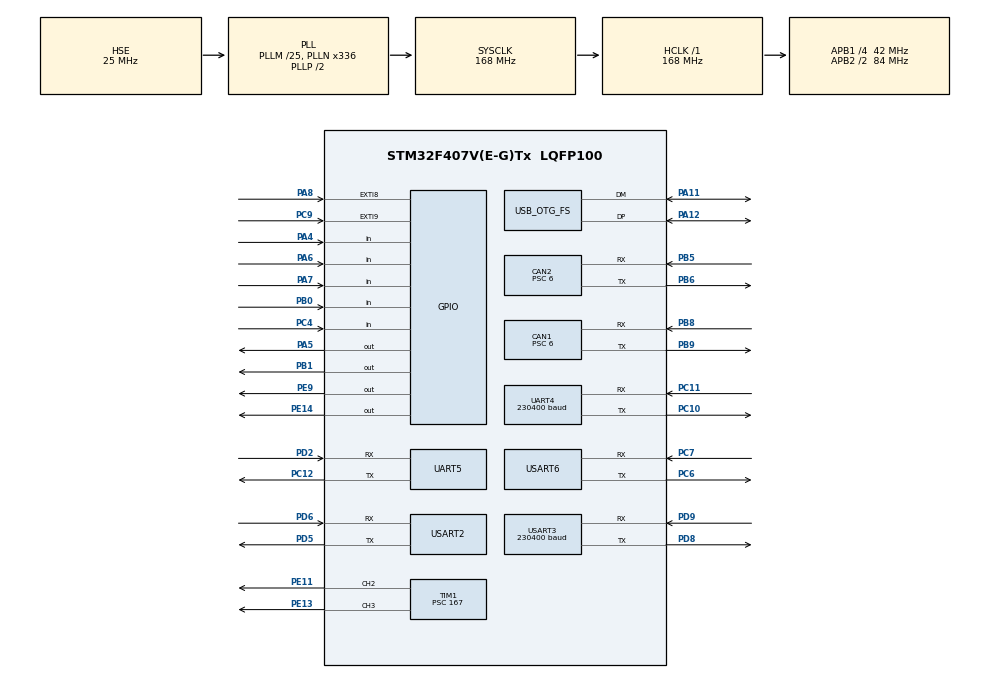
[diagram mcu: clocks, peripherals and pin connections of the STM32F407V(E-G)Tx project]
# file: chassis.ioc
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CAN1.BS1=CAN_BS1_3TQ
CAN1.BS2=CAN_BS2_3TQ
CAN1.CalculateBaudRate=1000000
CAN1.CalculateTimeBit=1000
CAN1.CalculateTimeQuantum=142.85714285714286
CAN1.Prescaler=6
CAN2.BS1=CAN_BS1_3TQ
CAN2.BS2=CAN_BS2_3TQ
CAN2.CalculateBaudRate=1000000
CAN2.CalculateTimeBit=1000
CAN2.CalculateTimeQuantum=142.85714285714286
CAN2.Mode=CAN_MODE_NORMAL
CAN2.Prescaler=6
Dma.Request0=UART4_RX
Dma.Request1=UART4_TX
Dma.Request2=UART5_RX
Dma.Request3=UART5_TX
Dma.Request4=USART3_RX
Dma.Request5=USART3_TX
Dma.Request6=USART2_TX
Dma.Request7=USART2_RX
Dma.Request8=USART6_RX
Dma.Request9=USART6_TX
Dma.UART4_RX.0.Direction=DMA_PERIPH_TO_MEMORY
Dma.UART4_RX.0.FIFOMode=DMA_FIFOMODE_DISABLE
Dma.UART4_RX.0.Instance=DMA1_Stream2
Dma.UART4_RX.0.MemDataAlignment=DMA_MDATAALIGN_BYTE
Dma.UART4_RX.0.MemInc=DMA_MINC_ENABLE
Dma.UART4_RX.0.Mode=DMA_NORMAL
Dma.UART4_RX.0.PeriphDataAlignment=DMA_PDATAALIGN_BYTE
Dma.UART4_RX.0.PeriphInc=DMA_PINC_DISABLE
Dma.UART4_RX.0.Priority=DMA_PRIORITY_LOW
Dma.UART4_TX.1.Direction=DMA_MEMORY_TO_PERIPH
Dma.UART4_TX.1.FIFOMode=DMA_FIFOMODE_DISABLE
Dma.UART4_TX.1.Instance=DMA1_Stream4
Dma.UART4_TX.1.MemDataAlignment=DMA_MDATAALIGN_BYTE
Dma.UART4_TX.1.MemInc=DMA_MINC_ENABLE
Dma.UART4_TX.1.Mode=DMA_NORMAL
Dma.UART4_TX.1.PeriphDataAlignment=DMA_PDATAALIGN_BYTE
Dma.UART4_TX.1.PeriphInc=DMA_PINC_DISABLE
Dma.UART4_TX.1.Priority=DMA_PRIORITY_LOW
Dma.UART5_RX.2.Direction=DMA_PERIPH_TO_MEMORY
Dma.UART5_RX.2.FIFOMode=DMA_FIFOMODE_DISABLE
Dma.UART5_RX.2.Instance=DMA1_Stream0
Dma.UART5_RX.2.MemDataAlignment=DMA_MDATAALIGN_BYTE
Dma.UART5_RX.2.MemInc=DMA_MINC_ENABLE
Dma.UART5_RX.2.Mode=DMA_NORMAL
Dma.UART5_RX.2.PeriphDataAlignment=DMA_PDATAALIGN_BYTE
Dma.UART5_RX.2.PeriphInc=DMA_PINC_DISABLE
Dma.UART5_RX.2.Priority=DMA_PRIORITY_LOW
Dma.UART5_TX.3.Direction=DMA_MEMORY_TO_PERIPH
Dma.UART5_TX.3.FIFOMode=DMA_FIFOMODE_DISABLE
Dma.UART5_TX.3.Instance=DMA1_Stream7
Dma.UART5_TX.3.MemDataAlignment=DMA_MDATAALIGN_BYTE
Dma.UART5_TX.3.MemInc=DMA_MINC_ENABLE
Dma.UART5_TX.3.Mode=DMA_NORMAL
Dma.UART5_TX.3.PeriphDataAlignment=DMA_PDATAALIGN_BYTE
Dma.UART5_TX.3.PeriphInc=DMA_PINC_DISABLE
Dma.UART5_TX.3.Priority=DMA_PRIORITY_LOW
Dma.USART2_RX.7.Direction=DMA_PERIPH_TO_MEMORY
Dma.USART2_RX.7.FIFOMode=DMA_FIFOMODE_DISABLE
Dma.USART2_RX.7.Instance=DMA1_Stream5
Dma.USART2_RX.7.MemDataAlignment=DMA_MDATAALIGN_BYTE
Dma.USART2_RX.7.MemInc=DMA_MINC_ENABLE
Dma.USART2_RX.7.Mode=DMA_NORMAL
Dma.USART2_RX.7.PeriphDataAlignment=DMA_PDATAALIGN_BYTE
Dma.USART2_RX.7.PeriphInc=DMA_PINC_DISABLE
Dma.USART2_RX.7.Priority=DMA_PRIORITY_LOW
Dma.USART2_TX.6.Direction=DMA_MEMORY_TO_PERIPH
Dma.USART2_TX.6.FIFOMode=DMA_FIFOMODE_DISABLE
Dma.USART2_TX.6.Instance=DMA1_Stream6
Dma.USART2_TX.6.MemDataAlignment=DMA_MDATAALIGN_BYTE
Dma.USART2_TX.6.MemInc=DMA_MINC_ENABLE
Dma.USART2_TX.6.Mode=DMA_NORMAL
Dma.USART2_TX.6.PeriphDataAlignment=DMA_PDATAALIGN_BYTE
Dma.USART2_TX.6.PeriphInc=DMA_PINC_DISABLE
Dma.USART2_TX.6.Priority=DMA_PRIORITY_LOW
Dma.USART3_RX.4.Direction=DMA_PERIPH_TO_MEMORY
Dma.USART3_RX.4.FIFOMode=DMA_FIFOMODE_DISABLE
Dma.USART3_RX.4.Instance=DMA1_Stream1
Dma.USART3_RX.4.MemDataAlignment=DMA_MDATAALIGN_BYTE
Dma.USART3_RX.4.MemInc=DMA_MINC_ENABLE
Dma.USART3_RX.4.Mode=DMA_NORMAL
Dma.USART3_RX.4.PeriphDataAlignment=DMA_PDATAALIGN_BYTE
Dma.USART3_RX.4.PeriphInc=DMA_PINC_DISABLE
Dma.USART3_RX.4.Priority=DMA_PRIORITY_LOW
Dma.USART3_TX.5.Direction=DMA_MEMORY_TO_PERIPH
Dma.USART3_TX.5.FIFOMode=DMA_FIFOMODE_DISABLE
Dma.USART3_TX.5.Instance=DMA1_Stream3
Dma.USART3_TX.5.MemDataAlignment=DMA_MDATAALIGN_BYTE
Dma.USART3_TX.5.MemInc=DMA_MINC_ENABLE
Dma.USART3_TX.5.Mode=DMA_NORMAL
Dma.USART3_TX.5.PeriphDataAlignment=DMA_PDATAALIGN_BYTE
Dma.USART3_TX.5.PeriphInc=DMA_PINC_DISABLE
Dma.USART3_TX.5.Priority=DMA_PRIORITY_LOW
Dma.USART6_RX.8.Direction=DMA_PERIPH_TO_MEMORY
Dma.USART6_RX.8.FIFOMode=DMA_FIFOMODE_DISABLE
Dma.USART6_RX.8.Instance=DMA2_Stream1
Dma.USART6_RX.8.MemDataAlignment=DMA_MDATAALIGN_BYTE
Dma.USART6_RX.8.MemInc=DMA_MINC_ENABLE
Dma.USART6_RX.8.Mode=DMA_NORMAL
Dma.USART6_RX.8.PeriphDataAlignment=DMA_PDATAALIGN_BYTE
Dma.USART6_RX.8.PeriphInc=DMA_PINC_DISABLE
Dma.USART6_RX.8.Priority=DMA_PRIORITY_LOW
Dma.USART6_TX.9.Direction=DMA_MEMORY_TO_PERIPH
Dma.USART6_TX.9.FIFOMode=DMA_FIFOMODE_DISABLE
Dma.USART6_TX.9.Instance=DMA2_Stream6
Dma.USART6_TX.9.MemDataAlignment=DMA_MDATAALIGN_BYTE
Dma.USART6_TX.9.MemInc=DMA_MINC_ENABLE
Dma.USART6_TX.9.Mode=DMA_NORMAL
Dma.USART6_TX.9.PeriphDataAlignment=DMA_PDATAALIGN_BYTE
Dma.USART6_TX.9.PeriphInc=DMA_PINC_DISABLE
Dma.USART6_TX.9.Priority=DMA_PRIORITY_LOW
FREERTOS.INCLUDE_uxTaskGetStackHighWaterMark=1
FREERTOS.INCLUDE_vTaskDelayUntil=1
FREERTOS.Tasks01=defaultTask,0,128,StartDefaultTask,Default,NULL,Dynamic,NULL,NULL
FREERTOS.configTOTAL_HEAP_SIZE=40960
FREERTOS.configUSE_TIMERS=1
Mcu.Family=STM32F4
Mcu.Name=STM32F407V(E-G)Tx
Mcu.Package=LQFP100
NVIC.CAN1_RX0_IRQn=true\:5\:0\:false\:false\:true\:true\:true\:true\:true
NVIC.CAN1_TX_IRQn=true\:5\:0\:false\:false\:true\:true\:true\:true\:true
NVIC.CAN2_RX1_IRQn=true\:5\:0\:false\:false\:true\:true\:true\:true\:true
NVIC.CAN2_TX_IRQn=true\:5\:0\:false\:false\:true\:true\:true\:true\:true
NVIC.DMA1_Stream0_IRQn=true\:5\:0\:false\:false\:true\:true\:false\:true\:true
NVIC.DMA1_Stream1_IRQn=true\:5\:0\:false\:false\:true\:true\:false\:true\:true
NVIC.DMA1_Stream2_IRQn=true\:5\:0\:false\:false\:true\:true\:false\:true\:true
NVIC.DMA1_Stream3_IRQn=true\:5\:0\:false\:false\:true\:true\:false\:true\:true
NVIC.DMA1_Stream4_IRQn=true\:5\:0\:false\:false\:true\:true\:false\:true\:true
NVIC.DMA1_Stream5_IRQn=true\:5\:0\:false\:false\:true\:true\:false\:true\:true
NVIC.DMA1_Stream6_IRQn=true\:5\:0\:false\:false\:true\:true\:false\:true\:true
NVIC.DMA1_Stream7_IRQn=true\:5\:0\:false\:false\:true\:true\:false\:true\:true
NVIC.DMA2_Stream1_IRQn=true\:5\:0\:false\:false\:true\:true\:false\:true\:true
NVIC.DMA2_Stream6_IRQn=true\:5\:0\:false\:false\:true\:true\:false\:true\:true
NVIC.EXTI9_5_IRQn=true\:5\:0\:false\:false\:true\:true\:true\:true\:true
NVIC.OTG_FS_IRQn=true\:5\:0\:false\:false\:true\:true\:false\:true\:true
NVIC.PriorityGroup=NVIC_PRIORITYGROUP_4
NVIC.TIM8_TRG_COM_TIM14_IRQn=true\:15\:0\:false\:false\:true\:false\:true\:true\:true
NVIC.TimeBase=TIM8_TRG_COM_TIM14_IRQn
NVIC.TimeBaseIP=TIM14
NVIC.UART4_IRQn=true\:5\:0\:false\:false\:true\:true\:true\:true\:true
NVIC.UART5_IRQn=true\:5\:0\:false\:false\:true\:true\:true\:true\:true
NVIC.USART2_IRQn=true\:5\:0\:false\:false\:true\:true\:true\:true\:true
NVIC.USART3_IRQn=true\:5\:0\:false\:false\:true\:true\:true\:true\:true
NVIC.USART6_IRQn=true\:5\:0\:false\:false\:true\:true\:true\:true\:true
PA11.Mode=Device_Only
PA11.Signal=USB_OTG_FS_DM
PA12.Mode=Device_Only
PA12.Signal=USB_OTG_FS_DP
PA13.Mode=Serial_Wire
PA13.Signal=SYS_JTMS-SWDIO
PA14.Mode=Serial_Wire
PA14.Signal=SYS_JTCK-SWCLK
PA4.GPIO_PuPd=GPIO_PULLDOWN
PA4.Signal=GPIO_Input
PA5.GPIO_PuPd=GPIO_PULLDOWN
PA5.Signal=GPIO_Output
PA6.GPIO_PuPd=GPIO_PULLDOWN
PA6.Signal=GPIO_Input
PA7.GPIO_PuPd=GPIO_PULLDOWN
PA7.Signal=GPIO_Input
PA8.GPIO_ModeDefaultEXTI=GPIO_MODE_IT_RISING_FALLING
PA8.GPIO_PuPd=GPIO_PULLDOWN
PA8.Signal=GPXTI8
PB0.GPIO_PuPd=GPIO_PULLDOWN
PB0.Signal=GPIO_Input
PB1.GPIO_PuPd=GPIO_PULLDOWN
PB1.Signal=GPIO_Output
PB5.Mode=CAN_Activate
PB5.Signal=CAN2_RX
PB6.Mode=CAN_Activate
PB6.Signal=CAN2_TX
PB8.Mode=CAN_Activate
PB8.Signal=CAN1_RX
PB9.Mode=CAN_Activate
PB9.Signal=CAN1_TX
PC10.Mode=Asynchronous
PC10.Signal=UART4_TX
PC11.Mode=Asynchronous
PC11.Signal=UART4_RX
PC12.Mode=Asynchronous
PC12.Signal=UART5_TX
PC4.GPIO_PuPd=GPIO_PULLDOWN
PC4.Signal=GPIO_Input
PC6.Mode=Asynchronous
PC6.Signal=USART6_TX
PC7.Mode=Asynchronous
PC7.Signal=USART6_RX
PC9.GPIO_ModeDefaultEXTI=GPIO_MODE_IT_RISING_FALLING
PC9.GPIO_PuPd=GPIO_PULLDOWN
PC9.Signal=GPXTI9
PD2.Mode=Asynchronous
PD2.Signal=UART5_RX
PD5.Mode=Asynchronous
PD5.Signal=USART2_TX
PD6.Mode=Asynchronous
PD6.Signal=USART2_RX
PD8.Mode=Asynchronous
PD8.Signal=USART3_TX
PD9.Mode=Asynchronous
PD9.Signal=USART3_RX
PE11.Signal=S_TIM1_CH2
PE13.Signal=S_TIM1_CH3
PE14.GPIO_PuPd=GPIO_PULLDOWN
PE14.Signal=GPIO_Output
PE9.GPIO_PuPd=GPIO_PULLDOWN
PE9.Signal=GPIO_Output
PH0-OSC_IN.Mode=HSE-External-Oscillator
PH0-OSC_IN.Signal=RCC_OSC_IN
PH1-OSC_OUT.Mode=HSE-External-Oscillator
PH1-OSC_OUT.Signal=RCC_OSC_OUT
ProjectManager.HeapSize=0x1000
ProjectManager.StackSize=0x400
ProjectManager.TargetToolchain=MDK-ARM V5
RCC.48MHZClocksFreq_Value=48000000
RCC.AHBFreq_Value=168000000
RCC.APB1CLKDivider=RCC_HCLK_DIV4
RCC.APB1Freq_Value=42000000
RCC.APB1TimFreq_Value=84000000
RCC.APB2CLKDivider=RCC_HCLK_DIV2
RCC.APB2Freq_Value=84000000
RCC.APB2TimFreq_Value=168000000
RCC.CortexFreq_Value=168000000
RCC.HCLKFreq_Value=168000000
RCC.HSE_VALUE=25000000
RCC.HSI_VALUE=16000000
RCC.LSE_VALUE=32768
RCC.PLLM=25
RCC.PLLN=336
RCC.PLLQ=7
RCC.SYSCLKFreq_VALUE=168000000
RCC.SYSCLKSource=RCC_SYSCLKSOURCE_PLLCLK
RCC.VCOOutputFreq_Value=336000000
SH.S_TIM1_CH2.0=TIM1_CH2,PWM Generation2 CH2
SH.S_TIM1_CH3.0=TIM1_CH3,PWM Generation3 CH3
TIM1.Channel-PWM\ Generation2\ CH2=TIM_CHANNEL_2
TIM1.Channel-PWM\ Generation3\ CH3=TIM_CHANNEL_3
TIM1.Period=999
TIM1.Prescaler=167
UART4.BaudRate=230400
UART4.VirtualMode=Asynchronous
UART5.VirtualMode=Asynchronous
USART2.VirtualMode=VM_ASYNC
USART3.BaudRate=230400
USART3.VirtualMode=VM_ASYNC
USART6.VirtualMode=VM_ASYNC
USB_DEVICE.CLASS_NAME_FS=CDC
USB_DEVICE.VirtualMode-CDC_FS=Cdc
USB_DEVICE.VirtualModeFS=Cdc_FS
USB_OTG_FS.VirtualMode=Device_Only
VP_FREERTOS_VS_CMSIS_V1.Mode=CMSIS_V1
VP_SYS_VS_tim14.Mode=TIM14
VP_USB_DEVICE_VS_USB_DEVICE_CDC_FS.Mode=CDC_FS
board=custom

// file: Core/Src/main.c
/* USER CODE BEGIN Header */
/**
  ******************************************************************************
  * @file           : main.c
  * @brief          : Main program body
  ******************************************************************************
  * @attention
  *
  * Copyright (c) 2024 STMicroelectronics.
  * All rights reserved.
  *
  * This software is licensed under terms that can be found in the LICENSE file
  * in the root directory of this software component.
  * If no LICENSE file comes with this software, it is provided AS-IS.
  *
  ******************************************************************************
  */
/* USER CODE END Header */
#include "main.h"
#include "cmsis_os.h"
#include "can.h"
#include "dma.h"
#include "tim.h"
#include "usart.h"
#include "usb_device.h"
#include "gpio.h"

/* USER CODE BEGIN Includes */
#include "RMLibHead.h"
#include "CANDrive.h"
#include "encoder.h"
#include "Task_Init.h"
#include "Task_Init_Main.h"
/* USER CODE END Includes */

void SystemClock_Config(void);
void MX_FREERTOS_Init(void);
/* USER CODE BEGIN PFP */
#define Laser_enable2_Pin GPIO_PIN_3
#define Laser_enable2_GPIO_Port GPIOA
#define Laser_enable1_Pin GPIO_PIN_4
#define Laser_enable1_GPIO_Port GPIOA
#define Laser_enable3_Pin GPIO_PIN_8
#define Laser_enable3_GPIO_Port GPIOA

/* USER CODE END PFP */

int main(void)

{

  /* MCU Configuration--------------------------------------------------------*/

  /* Reset of all peripherals, Initializes the Flash interface and the Systick. */
  HAL_Init();

  /* Configure the system clock */
  SystemClock_Config();

  /* Initialize all configured peripherals */
  MX_GPIO_Init();
  MX_DMA_Init();
  MX_CAN1_Init();
  MX_CAN2_Init();
  MX_UART4_Init();
  MX_UART5_Init();
  MX_USART3_UART_Init();
  MX_USART2_UART_Init();
  MX_USART6_UART_Init();
  MX_TIM1_Init();
  /* USER CODE BEGIN 2 */
	MX_USB_DEVICE_Init();
	Task_Init();
  /* USER CODE END 2 */

  /* Call init function for freertos objects (in cmsis_os2.c) */
  MX_FREERTOS_Init();

  /* Start scheduler */
  osKernelStart();

  /* We should never get here as control is now taken by the scheduler */

  /* Infinite loop */
  while (1)
  {

  }
}

void SystemClock_Config(void)
{
  RCC_OscInitTypeDef RCC_OscInitStruct = {0};
  RCC_ClkInitTypeDef RCC_ClkInitStruct = {0};

  /** Configure the main internal regulator output voltage
  */
  __HAL_RCC_PWR_CLK_ENABLE();
  __HAL_PWR_VOLTAGESCALING_CONFIG(PWR_REGULATOR_VOLTAGE_SCALE1);

  /** Initializes the RCC Oscillators according to the specified parameters
  * in the RCC_OscInitTypeDef structure.
  */
  RCC_OscInitStruct.OscillatorType = RCC_OSCILLATORTYPE_HSE;
  RCC_OscInitStruct.HSEState = RCC_HSE_ON;
  RCC_OscInitStruct.PLL.PLLState = RCC_PLL_ON;
  RCC_OscInitStruct.PLL.PLLSource = RCC_PLLSOURCE_HSE;
  RCC_OscInitStruct.PLL.PLLM = 25;
  RCC_OscInitStruct.PLL.PLLN = 336;
  RCC_OscInitStruct.PLL.PLLP = RCC_PLLP_DIV2;
  RCC_OscInitStruct.PLL.PLLQ = 7;
  if (HAL_RCC_OscConfig(&RCC_OscInitStruct) != HAL_OK)
  {
    Error_Handler();
  }

  /** Initializes the CPU, AHB and APB buses clocks
  */
  RCC_ClkInitStruct.ClockType = RCC_CLOCKTYPE_HCLK|RCC_CLOCKTYPE_SYSCLK
                              |RCC_CLOCKTYPE_PCLK1|RCC_CLOCKTYPE_PCLK2;
  RCC_ClkInitStruct.SYSCLKSource = RCC_SYSCLKSOURCE_PLLCLK;
  RCC_ClkInitStruct.AHBCLKDivider = RCC_SYSCLK_DIV1;
  RCC_ClkInitStruct.APB1CLKDivider = RCC_HCLK_DIV4;
  RCC_ClkInitStruct.APB2CLKDivider = RCC_HCLK_DIV2;

  if (HAL_RCC_ClockConfig(&RCC_ClkInitStruct, FLASH_LATENCY_5) != HAL_OK)
  {
    Error_Handler();
  }
}

void HAL_TIM_PeriodElapsedCallback(TIM_HandleTypeDef *htim)
{
  if (htim->Instance == TIM14)
  {
    HAL_IncTick();
  }
}

void Error_Handler(void)
{
  __disable_irq();
  while (1)
  {
  }
}

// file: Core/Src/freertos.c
/* USER CODE BEGIN Header */
/**
  ******************************************************************************
  * File Name          : freertos.c
  * Description        : Code for freertos applications
  ******************************************************************************
  * @attention
  *
  * Copyright (c) 2024 STMicroelectronics.
  * All rights reserved.
  *
  * This software is licensed under terms that can be found in the LICENSE file
  * in the root directory of this software component.
  * If no LICENSE file comes with this software, it is provided AS-IS.
  *
  ******************************************************************************
  */
/* USER CODE END Header */

#include "FreeRTOS.h"
#include "task.h"
#include "main.h"
#include "cmsis_os.h"

/* USER CODE BEGIN Includes */
#include "Task_Init.h"
#include "semphr.h"
#include "comm_stm32_hal_middle.h"
#include "Task_Init_Main.h"
/* USER CODE END Includes */

/* USER CODE BEGIN PD */
SemaphoreHandle_t Remote_semaphore;
uint16_t _stack[9] = {0};
extern TaskHandle_t Remote_Analysis_Handle;
extern TaskHandle_t UartTxTask_Handle;
extern TaskHandle_t Uart_Tx_Handle;
extern TaskHandle_t task_handle;
extern TaskHandle_t SendDataPackTask_handle;
extern TaskHandle_t ReceiveDataPackTask_handle;
extern TaskHandle_t ACKTimeoutCheckTask_handle;
extern CommHandle_t *g_comm_handle;
/* USER CODE END PD */

osThreadId defaultTaskHandle;

void StartDefaultTask(void const * argument);

extern void MX_USB_DEVICE_Init(void);
void MX_FREERTOS_Init(void); /* (MISRA C 2004 rule 8.1) */

/* GetIdleTaskMemory prototype (linked to static allocation support) */
void vApplicationGetIdleTaskMemory( StaticTask_t **ppxIdleTaskTCBBuffer, StackType_t **ppxIdleTaskStackBuffer, uint32_t *pulIdleTaskStackSize );

/* GetTimerTaskMemory prototype (linked to static allocation support) */
void vApplicationGetTimerTaskMemory( StaticTask_t **ppxTimerTaskTCBBuffer, StackType_t **ppxTimerTaskStackBuffer, uint32_t *pulTimerTaskStackSize );

/* USER CODE BEGIN GET_IDLE_TASK_MEMORY */
static StaticTask_t xIdleTaskTCBBuffer;
static StackType_t xIdleStack[configMINIMAL_STACK_SIZE];

void vApplicationGetIdleTaskMemory( StaticTask_t **ppxIdleTaskTCBBuffer, StackType_t **ppxIdleTaskStackBuffer, uint32_t *pulIdleTaskStackSize )
{
  *ppxIdleTaskTCBBuffer = &xIdleTaskTCBBuffer;
  *ppxIdleTaskStackBuffer = &xIdleStack[0];
  *pulIdleTaskStackSize = configMINIMAL_STACK_SIZE;
  /* place for user code */
}
/* USER CODE END GET_IDLE_TASK_MEMORY */

/* USER CODE BEGIN GET_TIMER_TASK_MEMORY */
static StaticTask_t xTimerTaskTCBBuffer;
static StackType_t xTimerStack[configTIMER_TASK_STACK_DEPTH];

void vApplicationGetTimerTaskMemory( StaticTask_t **ppxTimerTaskTCBBuffer, StackType_t **ppxTimerTaskStackBuffer, uint32_t *pulTimerTaskStackSize )
{
  *ppxTimerTaskTCBBuffer = &xTimerTaskTCBBuffer;
  *ppxTimerTaskStackBuffer = &xTimerStack[0];
  *pulTimerTaskStackSize = configTIMER_TASK_STACK_DEPTH;
  /* place for user code */
}
/* USER CODE END GET_TIMER_TASK_MEMORY */

void MX_FREERTOS_Init(void) {

  /* USER CODE BEGIN RTOS_QUEUES */
  /* add queues, ... */
  Remote_semaphore =xSemaphoreCreateBinary();
  /* USER CODE END RTOS_QUEUES */

  /* Create the thread(s) */
  /* definition and creation of defaultTask */
  osThreadDef(defaultTask, StartDefaultTask, osPriorityNormal, 0, 128);
  defaultTaskHandle = osThreadCreate(osThread(defaultTask), NULL);

}

void StartDefaultTask(void const * argument)
{
  /* init code for USB_DEVICE */
  MX_USB_DEVICE_Init();
  /* USER CODE BEGIN StartDefaultTask */
	Task_Init_Main();
  /* Infinite lop */
  for(;;)
  {
		_stack[0]=uxTaskGetStackHighWaterMark(UartTxTask_Handle);
		_stack[1]=uxTaskGetStackHighWaterMark(Uart_Tx_Handle);
		_stack[2]=uxTaskGetStackHighWaterMark(task_handle);
		_stack[3]=uxTaskGetStackHighWaterMark(SendDataPackTask_handle);
		_stack[4]=uxTaskGetStackHighWaterMark(ReceiveDataPackTask_handle);
		_stack[5]=uxTaskGetStackHighWaterMark(ACKTimeoutCheckTask_handle);
		_stack[6]=uxTaskGetStackHighWaterMark(defaultTaskHandle);
		_stack[7]=uxTaskGetStackHighWaterMark(g_comm_handle->tx_task_handle);
		_stack[8]=uxTaskGetStackHighWaterMark(Remote_Analysis_Handle);
    osDelay(1000);
  }
  /* USER CODE END StartDefaultTask */
}
